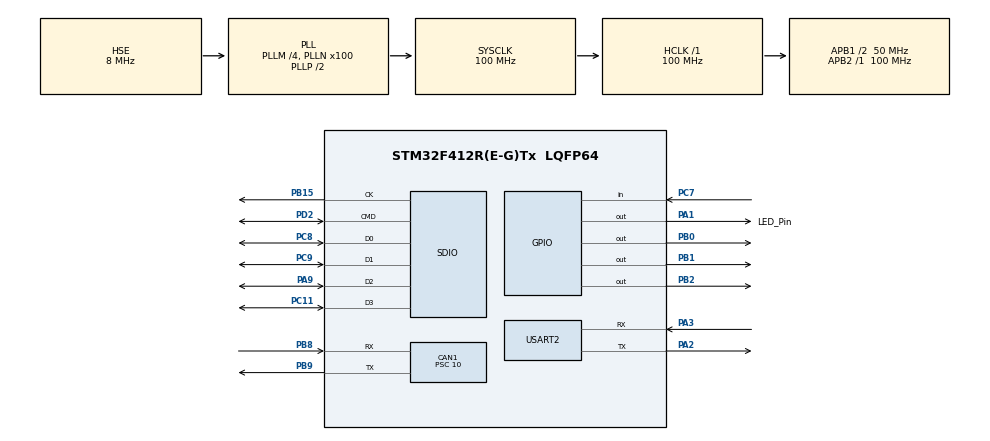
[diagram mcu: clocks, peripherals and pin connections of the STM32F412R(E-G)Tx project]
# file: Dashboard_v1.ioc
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CAN1.BS1=CAN_BS1_12TQ
CAN1.BS2=CAN_BS2_7TQ
CAN1.CalculateTimeQuantum=200.0
CAN1.Prescaler=10
Dma.Request0=USART2_TX
Dma.USART2_TX.0.Direction=DMA_MEMORY_TO_PERIPH
Dma.USART2_TX.0.FIFOMode=DMA_FIFOMODE_DISABLE
Dma.USART2_TX.0.Instance=DMA1_Stream6
Dma.USART2_TX.0.MemDataAlignment=DMA_MDATAALIGN_BYTE
Dma.USART2_TX.0.MemInc=DMA_MINC_ENABLE
Dma.USART2_TX.0.Mode=DMA_NORMAL
Dma.USART2_TX.0.PeriphDataAlignment=DMA_PDATAALIGN_BYTE
Dma.USART2_TX.0.PeriphInc=DMA_PINC_DISABLE
Dma.USART2_TX.0.Priority=DMA_PRIORITY_LOW
Mcu.Family=STM32F4
Mcu.Name=STM32F412R(E-G)Tx
Mcu.Package=LQFP64
NVIC.CAN1_RX0_IRQn=true\:0\:0\:true\:false\:true\:true\:true
NVIC.DMA1_Stream6_IRQn=true\:1\:1\:true\:false\:true\:false\:true
NVIC.PriorityGroup=NVIC_PRIORITYGROUP_3
NVIC.TIM1_UP_TIM10_IRQn=true\:1\:0\:true\:false\:true\:true\:true
NVIC.TIM2_IRQn=true\:2\:0\:true\:false\:true\:true\:true
NVIC.TIM3_IRQn=true\:4\:0\:true\:false\:true\:true\:true
NVIC.USART2_IRQn=true\:3\:0\:true\:false\:true\:true\:true
PA1.GPIO_Label=LED_Pin
PA1.Signal=GPIO_Output
PA13.Mode=Serial_Wire
PA13.Signal=SYS_JTMS-SWDIO
PA14.Mode=Serial_Wire
PA14.Signal=SYS_JTCK-SWCLK
PA2.Mode=Asynchronous
PA2.Signal=USART2_TX
PA3.Mode=Asynchronous
PA3.Signal=USART2_RX
PA9.Mode=SD_4_bits_Wide_bus
PA9.Signal=SDIO_D2
PB0.Signal=GPIO_Output
PB1.Signal=GPIO_Output
PB15.Mode=SD_4_bits_Wide_bus
PB15.Signal=SDIO_CK
PB2.Signal=GPIO_Output
PB8.Mode=Master
PB8.Signal=CAN1_RX
PB9.Mode=Master
PB9.Signal=CAN1_TX
PC11.Mode=SD_4_bits_Wide_bus
PC11.Signal=SDIO_D3
PC7.Signal=GPIO_Input
PC8.Mode=SD_4_bits_Wide_bus
PC8.Signal=SDIO_D0
PC9.Mode=SD_4_bits_Wide_bus
PC9.Signal=SDIO_D1
PD2.Mode=SD_4_bits_Wide_bus
PD2.Signal=SDIO_CMD
PH0\ -\ OSC_IN.Mode=HSE-External-Oscillator
PH0\ -\ OSC_IN.Signal=RCC_OSC_IN
PH1\ -\ OSC_OUT.Mode=HSE-External-Oscillator
PH1\ -\ OSC_OUT.Signal=RCC_OSC_OUT
ProjectManager.HeapSize=0x2000
ProjectManager.StackSize=0x4000
ProjectManager.TargetToolchain=MDK-ARM V5
RCC.AHBFreq_Value=100000000
RCC.APB1CLKDivider=RCC_HCLK_DIV2
RCC.APB1Freq_Value=50000000
RCC.APB1TimFreq_Value=100000000
RCC.APB2Freq_Value=100000000
RCC.APB2TimFreq_Value=100000000
RCC.CortexFreq_Value=100000000
RCC.HCLKFreq_Value=100000000
RCC.HSE_VALUE=8000000
RCC.PLLM=4
RCC.PLLN=100
RCC.PLLQ=4
RCC.PLLSourceVirtual=RCC_PLLSOURCE_HSE
RCC.SYSCLKFreq_VALUE=100000000
RCC.SYSCLKSource=RCC_SYSCLKSOURCE_PLLCLK
RCC.USBFreq_Value=50000000
RCC.VCOOutputFreq_Value=200000000
SDIO.ClockDiv=3
TIM1.Period=399
TIM1.Prescaler=9999
TIM2.Period=1999
TIM2.Prescaler=9999
TIM3.Period=9999
TIM3.Prescaler=9999
USART2.VirtualMode=VM_ASYNC
VP_FATFS_VS_SDIO.Mode=SDIO
VP_TIM1_VS_ClockSourceINT.Mode=Internal
VP_TIM2_VS_ClockSourceINT.Mode=Internal
VP_TIM3_VS_ClockSourceINT.Mode=Internal
board=custom

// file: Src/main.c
/* USER CODE BEGIN Header */
/**
  ******************************************************************************
  * @file           : main.c
  * @brief          : Main program body
  ******************************************************************************
  * @attention
  *
  * <h2><center>&copy; Copyright (c) 2020 STMicroelectronics.
  * All rights reserved.</center></h2>
  *
  * This software component is licensed by ST under Ultimate Liberty license
  * SLA0044, the "License"; You may not use this file except in compliance with
  * the License. You may obtain a copy of the License at:
  *                             www.st.com/SLA0044
  *
  ******************************************************************************
  */
/* USER CODE END Header */

#include "main.h"
#include "fatfs.h"

/* USER CODE BEGIN Includes */
#include "nextion.h"
#include <string.h>
#include <stdlib.h>
#include <stdbool.h>

/* USER CODE END Includes */

CAN_HandleTypeDef hcan1;

SD_HandleTypeDef hsd;

TIM_HandleTypeDef htim1;
TIM_HandleTypeDef htim2;
TIM_HandleTypeDef htim3;

UART_HandleTypeDef huart2;
DMA_HandleTypeDef hdma_usart2_tx;

/* USER CODE BEGIN PV */
static CAN_RxHeaderTypeDef CANRxh;
CAN_TxHeaderTypeDef txCAN;
/* USER CODE END PV */

void SystemClock_Config(void);
static void MX_GPIO_Init(void);
static void MX_DMA_Init(void);
static void MX_CAN1_Init(void);
static void MX_SDIO_SD_Init(void);
static void MX_USART2_UART_Init(void);
static void MX_TIM1_Init(void);
static void MX_TIM3_Init(void);
static void MX_TIM2_Init(void);
/* USER CODE BEGIN PFP */
void CAN_filterConfig(void);
void CAN_filterConfig1(void);

//void Heartbeat_err(uint8_t device);
/* USER CODE END PFP */

/* USER CODE BEGIN 0 */
uint32_t txmailbox;

bool nx_dowysylki_p;
bool nx_dowysylki_r;
bool nx_dowysylki_sd;

uint8_t CAN_ramka[CAN_FRAME_COUNT][8];
uint8_t CAN_data[8] = {0, 1, 2, 3, 4, 5, 6, 7};

char nx_endline[3] = {0xff, 0xff, 0xff};
char buf_nxt_p[90];
char buf_nxt_r[140];

char buf_sd1[2500];
char buf_sd2[2500];

nextion_uart_t nx_val;
sd_card_t sd_card;

dash_state_t dash_state = IDLE;
dash_page_t dash_page = PAGE0;

uint8_t Uart2_buf_rx[10]; //odbiСr z nextiona
uint8_t Uart2_zn;
volatile uint8_t Uart2_i;
volatile uint8_t Uart2_ff;
bool Uart2_free = true;
uint8_t can_ok = 15;		//dzialanie can, dekrementacja w add to bufor 5Hz, odnowienie w can zapi[2]

/* USER CODE END 0 */

int main(void)
{
  /* USER CODE BEGIN 1 */
	txCAN.DLC = 8;
	txCAN.StdId = 0x608;
	txCAN.RTR = CAN_RTR_DATA;
	txCAN.IDE = CAN_ID_STD;
  /* USER CODE END 1 */

  /* MCU Configuration--------------------------------------------------------*/

  /* Reset of all peripherals, Initializes the Flash interface and the Systick. */
  HAL_Init();

  /* Configure the system clock */
  SystemClock_Config();

  /* Initialize all configured peripherals */
  MX_GPIO_Init();
  MX_DMA_Init();
  MX_CAN1_Init();
  MX_SDIO_SD_Init();
  MX_USART2_UART_Init();
  MX_FATFS_Init();
  MX_TIM1_Init();
  MX_TIM3_Init();
  MX_TIM2_Init();
  /* USER CODE BEGIN 2 */
HAL_GPIO_WritePin(LED_Pin_GPIO_Port, LED_Pin_Pin, 0);
//HAL_GPIO_WritePin(GPIOB, GPIO_PIN_1, 0);

	CAN_filterConfig();
	CAN_filterConfig1();
	HAL_CAN_Start(&hcan1);
	HAL_CAN_ActivateNotification(&hcan1, CAN_IT_RX_FIFO0_MSG_PENDING); // musi byc!!
	HAL_TIM_Base_Start_IT(&htim1); //5 Hz docelowo, wazniejsze onformacje na dash
	HAL_TIM_Base_Start_IT(&htim2); //10 Hz przeliczanie
	HAL_TIM_Base_Start_IT(&htim3); //0,5 Hz docelowo, mniej wazne info na dash
	HAL_UART_Receive_IT(&huart2, &Uart2_zn, 1);	//odbior z nextiona

  sd_card.init = false;
	sd_card.flaga = 1;
	sd_card.sd_add_buf = false;
	strcpy(sd_card.SD_nazwapliku, "1.TXT\0");
	dash_state = IDLE;
	dash_page = PAGE0;
			nx_val.DC_curr=0;
			nx_val.bat_percent=0;
			nx_val.bat_voltage=0;
			nx_val.controller_temp=0;
			nx_val.engine_temp=0;
			nx_val.rpm=0;
			nx_val.speed=0;
			nx_val.SDO_req=0;
			nx_val.SDO_ans=0;

	nx_val.contactor=false;

  /* USER CODE END 2 */

  /* Infinite loop */
  /* USER CODE BEGIN WHILE */
  while(1)
  {
		switch(dash_page){
			case PAGE2:
				IdleRun();
				break;
			case PAGE3:
			case PAGE0:
				Nextion_SendValue(buf_nxt_p, &nx_dowysylki_p, &Uart2_free);
				break;
			case PAGE1:
				Nextion_SendValue(buf_nxt_r, &nx_dowysylki_r, &Uart2_free);
				break;
			default:
				IdleRun();
				break;
		}
	if(dash_state == NEXTION_SD){
		if(sd_card.sd_add_buf){ 																		//co 5 Hz ustawiana ta flaga w timerze
			if(sd_card.flaga) { 																			//rozpoznanie buf_sd1 lub buf_sd2
				AddToBuffor_SD(buf_sd1, &nx_val, &nx_dowysylki_sd);			//dodawanie 1 linii do bufora sd1
				SDZapis(&sd_card, buf_sd1, buf_sd2, &nx_dowysylki_sd);	//zapis na sd (25 linii), co 5 wywolanie
			}
			else {
				AddToBuffor_SD(buf_sd2, &nx_val, &nx_dowysylki_sd);			//dodawanie 1 linii do bufora sd2
				SDZapis(&sd_card, buf_sd2, buf_sd1, &nx_dowysylki_sd);	//zapis na sd (25 linii), co 5 wywolanie
			}
			sd_card.sd_add_buf = false;
		}
	}

    /* USER CODE END WHILE */

  }
}

void SystemClock_Config(void)
{
  RCC_OscInitTypeDef RCC_OscInitStruct = {0};
  RCC_ClkInitTypeDef RCC_ClkInitStruct = {0};
  RCC_PeriphCLKInitTypeDef PeriphClkInitStruct = {0};

  /** Configure the main internal regulator output voltage
  */
  __HAL_RCC_PWR_CLK_ENABLE();
  __HAL_PWR_VOLTAGESCALING_CONFIG(PWR_REGULATOR_VOLTAGE_SCALE1);
  /** Initializes the CPU, AHB and APB busses clocks
  */
  RCC_OscInitStruct.OscillatorType = RCC_OSCILLATORTYPE_HSE;
  RCC_OscInitStruct.HSEState = RCC_HSE_ON;
  RCC_OscInitStruct.PLL.PLLState = RCC_PLL_ON;
  RCC_OscInitStruct.PLL.PLLSource = RCC_PLLSOURCE_HSE;
  RCC_OscInitStruct.PLL.PLLM = 4;
  RCC_OscInitStruct.PLL.PLLN = 100;
  RCC_OscInitStruct.PLL.PLLP = RCC_PLLP_DIV2;
  RCC_OscInitStruct.PLL.PLLQ = 4;
  RCC_OscInitStruct.PLL.PLLR = 2;
  if (HAL_RCC_OscConfig(&RCC_OscInitStruct) != HAL_OK)
  {
    Error_Handler();
  }
  /** Initializes the CPU, AHB and APB busses clocks
  */
  RCC_ClkInitStruct.ClockType = RCC_CLOCKTYPE_HCLK|RCC_CLOCKTYPE_SYSCLK
                              |RCC_CLOCKTYPE_PCLK1|RCC_CLOCKTYPE_PCLK2;
  RCC_ClkInitStruct.SYSCLKSource = RCC_SYSCLKSOURCE_PLLCLK;
  RCC_ClkInitStruct.AHBCLKDivider = RCC_SYSCLK_DIV1;
  RCC_ClkInitStruct.APB1CLKDivider = RCC_HCLK_DIV2;
  RCC_ClkInitStruct.APB2CLKDivider = RCC_HCLK_DIV1;

  if (HAL_RCC_ClockConfig(&RCC_ClkInitStruct, FLASH_LATENCY_3) != HAL_OK)
  {
    Error_Handler();
  }
  PeriphClkInitStruct.PeriphClockSelection = RCC_PERIPHCLK_SDIO|RCC_PERIPHCLK_CLK48;
  PeriphClkInitStruct.Clk48ClockSelection = RCC_CLK48CLKSOURCE_PLLQ;
  PeriphClkInitStruct.SdioClockSelection = RCC_SDIOCLKSOURCE_CLK48;
  if (HAL_RCCEx_PeriphCLKConfig(&PeriphClkInitStruct) != HAL_OK)
  {
    Error_Handler();
  }
}

static void MX_CAN1_Init(void)
{

  /* USER CODE BEGIN CAN1_Init 1 */
			//10 = 250 kb/s    5 = 500 kb/s
  /* USER CODE END CAN1_Init 1 */
  hcan1.Instance = CAN1;
  hcan1.Init.Prescaler = 10;
  hcan1.Init.Mode = CAN_MODE_NORMAL;
  hcan1.Init.SyncJumpWidth = CAN_SJW_1TQ;
  hcan1.Init.TimeSeg1 = CAN_BS1_12TQ;
  hcan1.Init.TimeSeg2 = CAN_BS2_7TQ;
  hcan1.Init.TimeTriggeredMode = DISABLE;
  hcan1.Init.AutoBusOff = DISABLE;
  hcan1.Init.AutoWakeUp = DISABLE;
  hcan1.Init.AutoRetransmission = DISABLE;
  hcan1.Init.ReceiveFifoLocked = DISABLE;
  hcan1.Init.TransmitFifoPriority = DISABLE;
  if (HAL_CAN_Init(&hcan1) != HAL_OK)
  {
    Error_Handler();
  }

}

static void MX_SDIO_SD_Init(void)
{

  hsd.Instance = SDIO;
  hsd.Init.ClockEdge = SDIO_CLOCK_EDGE_RISING;
  hsd.Init.ClockBypass = SDIO_CLOCK_BYPASS_DISABLE;
  hsd.Init.ClockPowerSave = SDIO_CLOCK_POWER_SAVE_DISABLE;
  hsd.Init.BusWide = SDIO_BUS_WIDE_1B;
  hsd.Init.HardwareFlowControl = SDIO_HARDWARE_FLOW_CONTROL_DISABLE;
  hsd.Init.ClockDiv = 3;

}

static void MX_TIM1_Init(void){

  TIM_ClockConfigTypeDef sClockSourceConfig = {0};
  TIM_MasterConfigTypeDef sMasterConfig = {0};

  htim1.Instance = TIM1;
  htim1.Init.Prescaler = 9999;
  htim1.Init.CounterMode = TIM_COUNTERMODE_UP;
  htim1.Init.Period = 1999;
  htim1.Init.ClockDivision = TIM_CLOCKDIVISION_DIV1;
  htim1.Init.RepetitionCounter = 0;
  htim1.Init.AutoReloadPreload = TIM_AUTORELOAD_PRELOAD_DISABLE;
  if (HAL_TIM_Base_Init(&htim1) != HAL_OK)
  {
    Error_Handler();
  }
  sClockSourceConfig.ClockSource = TIM_CLOCKSOURCE_INTERNAL;
  if (HAL_TIM_ConfigClockSource(&htim1, &sClockSourceConfig) != HAL_OK)
  {
    Error_Handler();
  }
  sMasterConfig.MasterOutputTrigger = TIM_TRGO_RESET;
  sMasterConfig.MasterSlaveMode = TIM_MASTERSLAVEMODE_DISABLE;
  if (HAL_TIMEx_MasterConfigSynchronization(&htim1, &sMasterConfig) != HAL_OK)
  {
    Error_Handler();
  }

}

static void MX_TIM2_Init(void)
{

  TIM_ClockConfigTypeDef sClockSourceConfig = {0};
  TIM_MasterConfigTypeDef sMasterConfig = {0};

  htim2.Instance = TIM2;
  htim2.Init.Prescaler = 9999;
  htim2.Init.CounterMode = TIM_COUNTERMODE_UP;
  htim2.Init.Period = 1999;
  htim2.Init.ClockDivision = TIM_CLOCKDIVISION_DIV1;
  htim2.Init.AutoReloadPreload = TIM_AUTORELOAD_PRELOAD_DISABLE;
  if (HAL_TIM_Base_Init(&htim2) != HAL_OK)
  {
    Error_Handler();
  }
  sClockSourceConfig.ClockSource = TIM_CLOCKSOURCE_INTERNAL;
  if (HAL_TIM_ConfigClockSource(&htim2, &sClockSourceConfig) != HAL_OK)
  {
    Error_Handler();
  }
  sMasterConfig.MasterOutputTrigger = TIM_TRGO_RESET;
  sMasterConfig.MasterSlaveMode = TIM_MASTERSLAVEMODE_DISABLE;
  if (HAL_TIMEx_MasterConfigSynchronization(&htim2, &sMasterConfig) != HAL_OK)
  {
    Error_Handler();
  }

}

static void MX_TIM3_Init(void)
{

  TIM_ClockConfigTypeDef sClockSourceConfig = {0};
  TIM_MasterConfigTypeDef sMasterConfig = {0};

  htim3.Instance = TIM3;
  htim3.Init.Prescaler = 9999;
  htim3.Init.CounterMode = TIM_COUNTERMODE_UP;
  htim3.Init.Period = 9999;
  htim3.Init.ClockDivision = TIM_CLOCKDIVISION_DIV1;
  htim3.Init.AutoReloadPreload = TIM_AUTORELOAD_PRELOAD_DISABLE;
  if (HAL_TIM_Base_Init(&htim3) != HAL_OK)
  {
    Error_Handler();
  }
  sClockSourceConfig.ClockSource = TIM_CLOCKSOURCE_INTERNAL;
  if (HAL_TIM_ConfigClockSource(&htim3, &sClockSourceConfig) != HAL_OK)
  {
    Error_Handler();
  }
  sMasterConfig.MasterOutputTrigger = TIM_TRGO_RESET;
  sMasterConfig.MasterSlaveMode = TIM_MASTERSLAVEMODE_DISABLE;
  if (HAL_TIMEx_MasterConfigSynchronization(&htim3, &sMasterConfig) != HAL_OK)
  {
    Error_Handler();
  }

}

static void MX_USART2_UART_Init(void)
{

  huart2.Instance = USART2;
  huart2.Init.BaudRate = 115200;
  huart2.Init.WordLength = UART_WORDLENGTH_8B;
  huart2.Init.StopBits = UART_STOPBITS_1;
  huart2.Init.Parity = UART_PARITY_NONE;
  huart2.Init.Mode = UART_MODE_TX_RX;
  huart2.Init.HwFlowCtl = UART_HWCONTROL_NONE;
  huart2.Init.OverSampling = UART_OVERSAMPLING_16;
  if (HAL_UART_Init(&huart2) != HAL_OK)
  {
    Error_Handler();
  }

}

static void MX_DMA_Init(void)
{
  /* DMA controller clock enable */
  __HAL_RCC_DMA1_CLK_ENABLE();

  /* DMA interrupt init */
  /* DMA1_Stream6_IRQn interrupt configuration */
  HAL_NVIC_SetPriority(DMA1_Stream6_IRQn, 1, 1);
  HAL_NVIC_EnableIRQ(DMA1_Stream6_IRQn);

}

static void MX_GPIO_Init(void)
{
  GPIO_InitTypeDef GPIO_InitStruct = {0};

  /* GPIO Ports Clock Enable */
  __HAL_RCC_GPIOH_CLK_ENABLE();
  __HAL_RCC_GPIOA_CLK_ENABLE();
  __HAL_RCC_GPIOB_CLK_ENABLE();
  __HAL_RCC_GPIOC_CLK_ENABLE();
  __HAL_RCC_GPIOD_CLK_ENABLE();

  /*Configure GPIO pin Output Level */
  HAL_GPIO_WritePin(LED_Pin_GPIO_Port, LED_Pin_Pin, GPIO_PIN_RESET);

  /*Configure GPIO pin Output Level */
  HAL_GPIO_WritePin(GPIOB, GPIO_PIN_0|GPIO_PIN_1|GPIO_PIN_2, GPIO_PIN_RESET);

  /*Configure GPIO pin : LED_Pin_Pin */
  GPIO_InitStruct.Pin = LED_Pin_Pin;
  GPIO_InitStruct.Mode = GPIO_MODE_OUTPUT_PP;
  GPIO_InitStruct.Pull = GPIO_NOPULL;
  GPIO_InitStruct.Speed = GPIO_SPEED_FREQ_LOW;
  HAL_GPIO_Init(LED_Pin_GPIO_Port, &GPIO_InitStruct);

  /*Configure GPIO pins : PB0 PB1 PB2 */
  GPIO_InitStruct.Pin = GPIO_PIN_0|GPIO_PIN_1|GPIO_PIN_2;
  GPIO_InitStruct.Mode = GPIO_MODE_OUTPUT_PP;
  GPIO_InitStruct.Pull = GPIO_NOPULL;
  GPIO_InitStruct.Speed = GPIO_SPEED_FREQ_LOW;
  HAL_GPIO_Init(GPIOB, &GPIO_InitStruct);

  /*Configure GPIO pin : PC7 */
  GPIO_InitStruct.Pin = GPIO_PIN_7;
  GPIO_InitStruct.Mode = GPIO_MODE_INPUT;
  GPIO_InitStruct.Pull = GPIO_NOPULL;
  HAL_GPIO_Init(GPIOC, &GPIO_InitStruct);

}

/* USER CODE BEGIN 4 */

void HAL_TIM_PeriodElapsedCallback(TIM_HandleTypeDef *htim)
{
	static int counter=1;
	static int counter2=1;

	txCAN.DLC = 8;
	txCAN.StdId = 0x608;
	txCAN.RTR = CAN_RTR_DATA;
	txCAN.IDE = CAN_ID_STD;
	uint32_t mailbox;

	uint8_t frame[8] = {0x40, 0x02, 0x21, 0x00, 0x00, 0x00, 0x00, 0x00};
	//>>>>>>>>>>>>>>>TIM1----- 5 Hz <<<<<<<<<<<<<<<
	if(htim->Instance == TIM1)
	{
		//odpytywanie SDO
		switch(counter){
			case 1:
				//frame[1] = ZAPI_ID_CURR;
				frame[1] = ZAPI_DC_CURR;
				break;
		/*	case 2:
				frame[1] = ZAPI_IQ_CURR;
				break;
			case 3:
				frame[1] = ZAPI_DC_CURR;
				break;
			case 4:
				frame[1] = ZAPI_TORQUE;
				break;*/
		}

		HAL_CAN_AddTxMessage(&hcan1, &txCAN, frame, &mailbox);
		//counter++;
		//if(counter >= 5) counter = 1;

			nx_val.SDO_req++;		//debug test
	}
	//>>>>>>>>>>>>>>>TIM2----- 5 Hz<<<<<<<<<<<<<<<<<
	if(htim->Instance == TIM2)
	{
		switch(dash_page){
			case PAGE3:
			case PAGE0:
				AddToBuffor_P(buf_nxt_p, &nx_val, &nx_dowysylki_p);
				break;
			case PAGE1:
				AddToBuffor_R(buf_nxt_r, &nx_val, &nx_dowysylki_r);
				break;
			default:
				break;
		}

		//sprawdzenie komunikacji CAN i wyzerowanie wartosci
//		if(can_ok) can_ok--;

//		if(!can_ok)
//		{
//			memset(&nx_val, 0, sizeof(nx_val));
//		}

		//dodawanie do bufora sd 1 linii
		sd_card.sd_add_buf = true;
	}
	//>>>>>>>>>>>>>>>TIM3-----odpytywanie rzadkie 1 HZ<<<<<<<<<<<<<<
	if(htim->Instance == TIM3)
	{
		//odpytywanie SDO
		switch(counter2){
			case 1:
				frame[1] = ZAPI_BAT_VOLTAGE;
			  break;
			case 2:
				frame[1] = ZAPI_CONTR_TEMP;
			  break;
			case 3:
				frame[1] = ZAPI_MOT_TEMP;
			  break;
		}

		HAL_CAN_AddTxMessage(&hcan1, &txCAN, frame, &mailbox);
		counter2++;
		if(counter2 >= 4) counter2 = 1;

			nx_val.SDO_req++;		//debug test
	}
}

void HAL_CAN_RxFifo0MsgPendingCallback(CAN_HandleTypeDef *hcan)
{
	uint16_t tmp;
	float f_tmp;

	uint32_t ID = (CAN_RI0R_STID & hcan->Instance->sFIFOMailBox[CAN_RX_FIFO0].RIR) >> CAN_TI0R_STID_Pos;

	switch(ID){
		case CAN_ADR_ZAPI0:
			CanGetMsgData(CAN_ramka[0]);
			nx_val.can_count = 0;					//w AddToBuffor_P inkrementacja, informacja o HV, komunikacji z zapim
			CAN_ramka[0][0] &= 1;
			nx_val.contactor = !(CAN_ramka[0][0]);

			tmp = (CAN_ramka[0][2] << 8) + CAN_ramka[0][3];
			nx_val.rpm = (uint16_t) tmp * 0.15f;

//			tmp = (uint16_t) nx_val.rpm * 0.02358912f*0.8f;
//			tmp = (uint16_t) nx_val.rpm * 0.02409101617f;
			tmp = (uint16_t) nx_val.rpm *	0.024894050043f;
			nx_val.speed = (uint8_t) tmp;

		break;

		case CAN_ADR_ZAPI2:
			can_ok = 15;
			CanGetMsgData(CAN_ramka[1]);
			switch (CAN_ramka[1][1]){
				case ZAPI_BAT_VOLTAGE:
					tmp = ((CAN_ramka[1][5] << 8) + CAN_ramka[1][4]) /100;		//scale *100
					nx_val.bat_voltage = (uint8_t) tmp;

					f_tmp = (nx_val.bat_voltage-84)*3.05;
					nx_val.bat_percent = (uint8_t) f_tmp;
					break;

				case ZAPI_CONTR_TEMP:
					nx_val.controller_temp = CAN_ramka[1][4];
					break;

				case ZAPI_MOT_TEMP:
					nx_val.engine_temp = CAN_ramka[1][4];
					break;

				case ZAPI_ID_CURR:
					nx_val.id_curr = ((CAN_ramka[1][5] << 8) + CAN_ramka[1][4]);
					break;

				case ZAPI_IQ_CURR:
					nx_val.iq_curr = ((CAN_ramka[1][5] << 8) + CAN_ramka[1][4]);
					break;

				case ZAPI_DC_CURR:
					nx_val.DC_curr = ((CAN_ramka[1][5] << 8) + CAN_ramka[1][4]);
					break;

				case ZAPI_TORQUE:
					nx_val.torque = ((CAN_ramka[1][5] << 8) + CAN_ramka[1][4]);
					break;
			}

				nx_val.SDO_ans++;		//debug test
			break;

		case CAN_ADR_SENS0:
			CanGetMsgData(CAN_ramka[2]);	//pot1 - rear
			nx_val.susp_rear.min = (CAN_ramka[2][1] << 8) + CAN_ramka[2][0];
			nx_val.susp_rear.max = (CAN_ramka[2][3] << 8) + CAN_ramka[2][2];
			nx_val.susp_rear.avg = (CAN_ramka[2][5] << 8) + CAN_ramka[2][4];
			break;

		case CAN_ADR_SENS1:
			CanGetMsgData(CAN_ramka[3]);	//pot2 - front
			nx_val.susp_front.min = (CAN_ramka[3][1] << 8) + CAN_ramka[3][0];
			nx_val.susp_front.max = (CAN_ramka[3][3] << 8) + CAN_ramka[3][2];
			nx_val.susp_front.avg = (CAN_ramka[3][5] << 8) + CAN_ramka[3][4];
			break;

		case CAN_ADR_SENS2:
			CanGetMsgData(CAN_ramka[4]);	//yaw pich roll
			nx_val.imu_data.yaw 	= (CAN_ramka[4][1] << 8) + CAN_ramka[4][0];
			nx_val.imu_data.pitch = (CAN_ramka[4][3] << 8) + CAN_ramka[4][2];
			nx_val.imu_data.roll 	= (CAN_ramka[4][5] << 8) + CAN_ramka[4][4];
			break;

		case CAN_ADR_SENS3:
			CanGetMsgData(CAN_ramka[5]);	//yaw pich roll
			nx_val.imu_data.acc_x = (CAN_ramka[5][1] << 8) + CAN_ramka[5][0];
			nx_val.imu_data.acc_y = (CAN_ramka[5][3] << 8) + CAN_ramka[5][2];
			nx_val.imu_data.acc_z	= (CAN_ramka[5][5] << 8) + CAN_ramka[5][4];
			break;

		case CAN_ADR_PDM:
			CanGetMsgData(CAN_ramka[6]);	//pdm->temps
//			nx_val.pdm_val.status_field = CAN_ramka[6][0];	//nie uzywane obecnie
			nx_val.pdm_val.temps[0] 		= CAN_ramka[6][1];
			nx_val.pdm_val.temps[1] 		= CAN_ramka[6][2];
			nx_val.pdm_val.temps[2] 		= CAN_ramka[6][3];
			nx_val.pdm_val.temps[3] 		= CAN_ramka[6][4];
//			nx_val.pdm_val.temps[4] 		= CAN_ramka[6][5];	//nie uzywane obecnie
//			nx_val.pdm_val.imd_resistance = (CAN_ramka[6][7] << 8) + CAN_ramka[6][6];
			break;

	}
}

void CAN_filterConfig(void)
{
	CAN_FilterTypeDef filterConfig;
	//skala 32 bit jest spoko do Ext ID, do Std ID najlepiej 16 bit, wtedy mamy 2x wiecej ID
	//w skali 16 bit high i low oznacza 2 osobne ID
	//w skali 32 bit high i low oznacza MSB i LSB danego 32 bitowego rejestru
	//w trybie ID LIST oraz skali 16 bit w kazdym banku mozna ustawic 4 filtry Std ID
	//w trybie ID LIST FilterMask oraz FilterId dotyczy roznych ID
	//w trybie ID MASK FilterMask dotyczy maski a FilterId dotyczy ID
	filterConfig.FilterBank = 1;
	filterConfig.FilterActivation = ENABLE;
	filterConfig.FilterFIFOAssignment = 0;
	filterConfig.FilterIdHigh = (0x0388 << 5);
	filterConfig.FilterIdLow = (0x0588 << 5);
	filterConfig.FilterMaskIdHigh = (0x0700 << 5);
	filterConfig.FilterMaskIdLow = (0x0600 << 5);
	filterConfig.FilterMode = CAN_FILTERMODE_IDLIST;
	filterConfig.FilterScale = CAN_FILTERSCALE_16BIT;

	HAL_CAN_ConfigFilter(&hcan1, &filterConfig);
}

void CAN_filterConfig1(void)
{
	CAN_FilterTypeDef filterConfig;
	//skala 32 bit jest spoko do Ext ID, do Std ID najlepiej 16 bit, wtedy mamy 2x wiecej ID
	//w skali 16 bit high i low oznacza 2 osobne ID
	//w skali 32 bit high i low oznacza MSB i LSB danego 32 bitowego rejestru
	//w trybie ID LIST oraz skali 16 bit w kazdym banku mozna ustawic 4 filtry Std ID
	//w trybie ID LIST FilterMask oraz FilterId dotyczy roznych ID
	//w trybie ID MASK FilterMask dotyczy maski a FilterId dotyczy ID
	filterConfig.FilterBank = 2;
	filterConfig.FilterActivation = ENABLE;
	filterConfig.FilterFIFOAssignment = 0;
	filterConfig.FilterIdHigh = (0x0610 << 5);
	filterConfig.FilterIdLow = (0x0620 << 5);
	filterConfig.FilterMaskIdHigh = (0x0630 << 5);
	filterConfig.FilterMaskIdLow = (0x0640 << 5);
	filterConfig.FilterMode = CAN_FILTERMODE_IDLIST;
	filterConfig.FilterScale = CAN_FILTERSCALE_16BIT;

	HAL_CAN_ConfigFilter(&hcan1, &filterConfig);
}

void HAL_UART_RxCpltCallback(UART_HandleTypeDef *huart)
{
  /* Prevent unused argument(s) compilation warning */
  UNUSED(huart);
	if(Uart2_i == 0 && Uart2_zn == 0){
	}
	else{
		Uart2_buf_rx[Uart2_i] = Uart2_zn;
		Uart2_i++;
	}
	if(Uart2_zn == 255){
		Uart2_ff++;
	}
	if(Uart2_ff == 3){
		Process_uart(&dash_state, &dash_page, Uart2_buf_rx, &sd_card);
		Uart2_ff = 0;
		Uart2_i = 0;
	}
	Uart2_free = true;
	HAL_UART_Receive_IT(&huart2, &Uart2_zn, 1);
}

void HAL_UART_TxCpltCallback(UART_HandleTypeDef *huart)
{
	Uart2_free = true;
}
//diody na nextionie informujace o obecnosci kominukacji
//z danych urzadzeniem
/*void Heartbeat_err(uint8_t device)
{
	char buf[20];
	sprintf(buf, "vis p%,1", device);
	HAL_UART_Transmit_IT(&huart2, (uint8_t*)buf, 8);
	HAL_UART_Transmit_IT(&huart2, (uint8_t*)k, 3);
}*/
/* USER CODE END 4 */

void Error_Handler(void)
{
}

/************************ (C) COPYRIGHT STMicroelectronics *****END OF FILE****/
